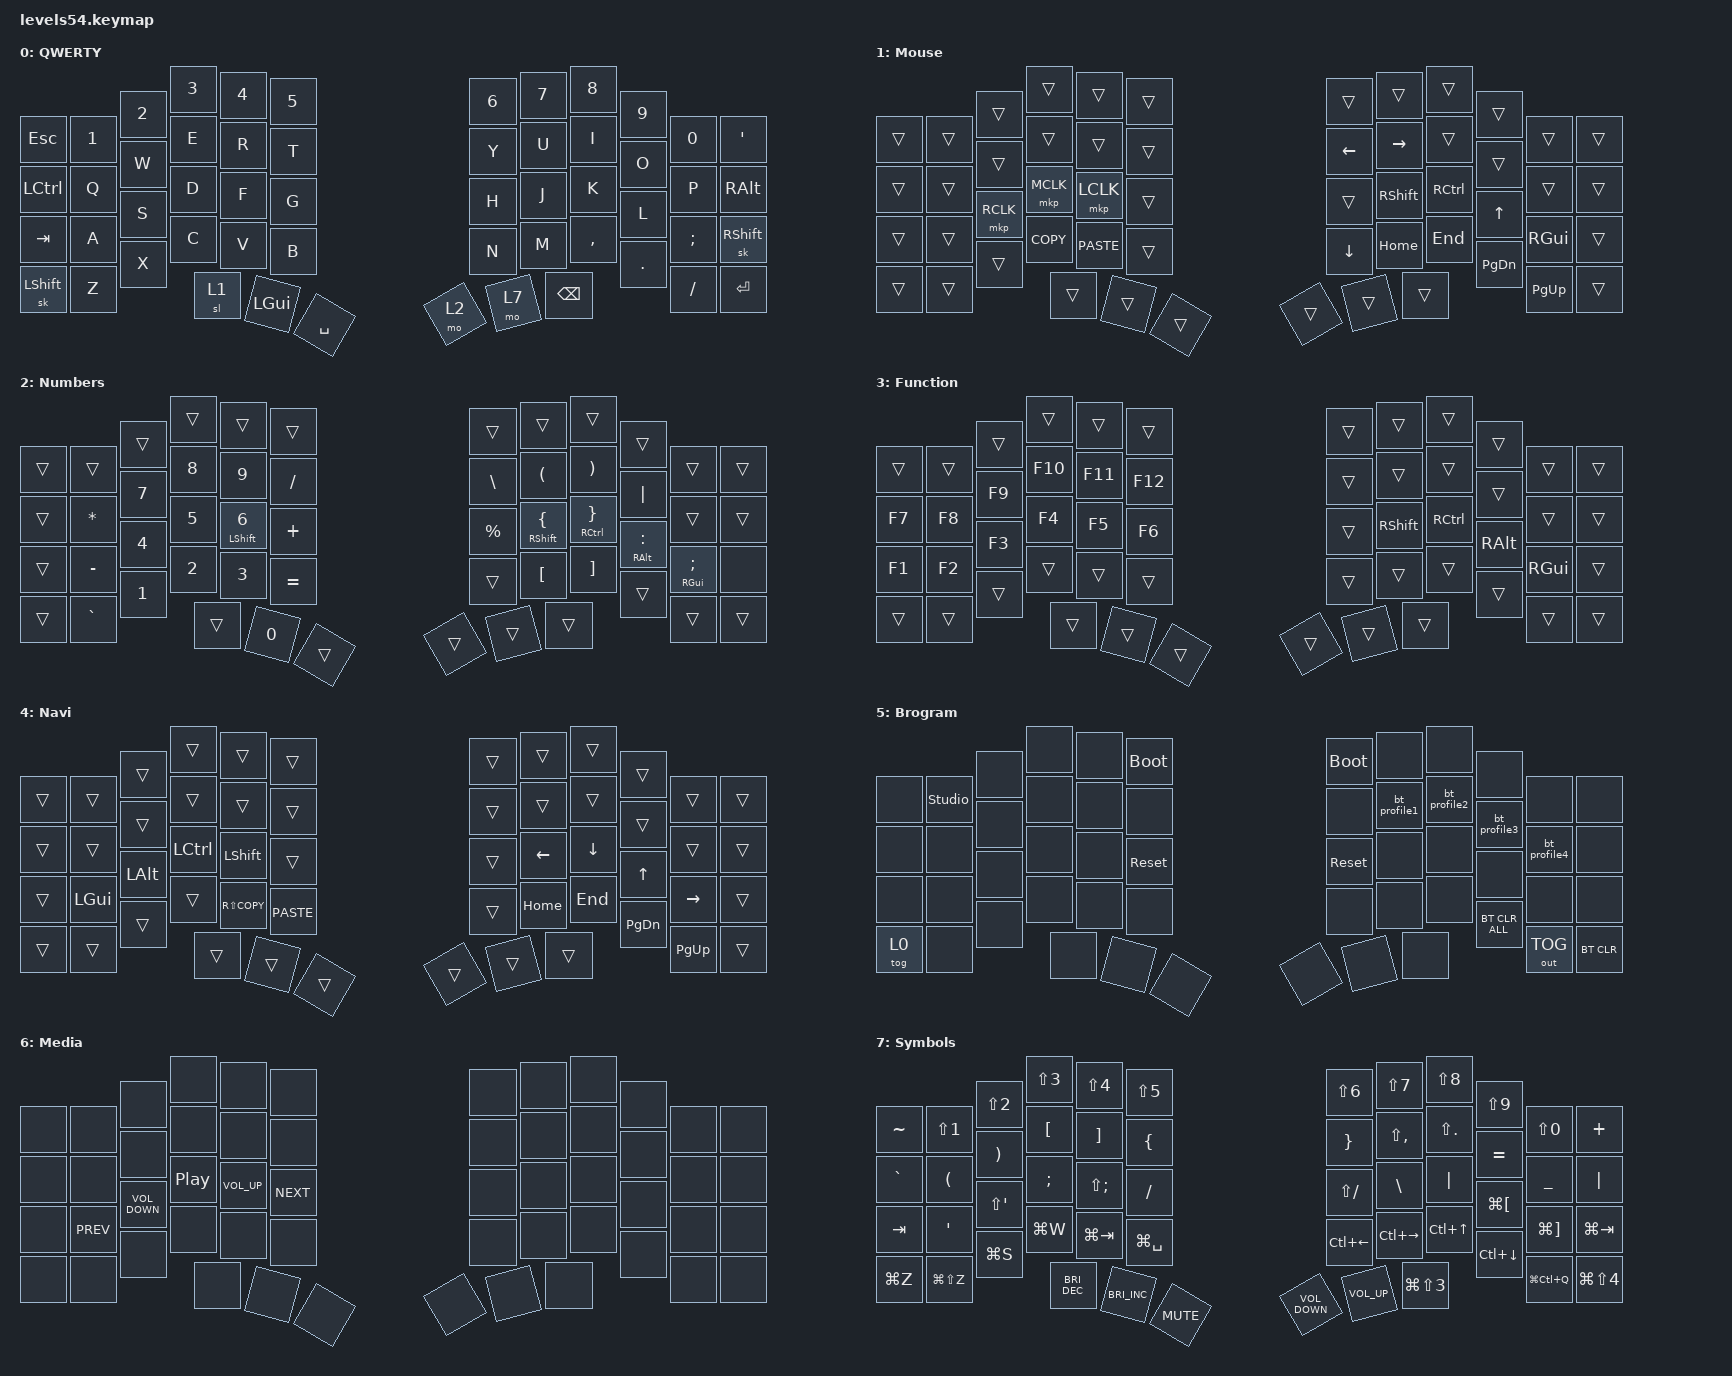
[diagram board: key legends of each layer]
#include <behaviors.dtsi>
#include <dt-bindings/zmk/bt.h>
#include <dt-bindings/zmk/keys.h>
#include <dt-bindings/zmk/outputs.h>
#include <dt-bindings/zmk/pointing.h>

/ {
    combos {
        compatible = "zmk,combos";

        sqoute {
            bindings = <&kp SINGLE_QUOTE>;
            key-positions = <15 20>;
        };

        dqoute {
            bindings = <&kp DOUBLE_QUOTES>;
            key-positions = <16 19>;
        };

        kminus {
            bindings = <&kp MINUS>;
            key-positions = <43 44>;
        };

        kunder {
            bindings = <&kp UNDER>;
            key-positions = <44 45>;
        };

        ktab {
            bindings = <&kp TAB>;
            key-positions = <14 21>;
        };

        kcaps {
            bindings = <&caps_word>;
            key-positions = <40 43>;
        };

        kskinny {
            bindings = <&skinnyarrow>;
            key-positions = <28 31>;
        };

        kfat {
            bindings = <&fatarrow>;
            key-positions = <28 31 32>;
        };

        kpipe {
            bindings = <&pipeopr>;
            key-positions = <29 30>;
        };

        kvimsave {
            bindings = <&vimsave>;
            key-positions = <50 14>;
        };

        spc_macro {
            bindings = <&kp SPACE>;
            key-positions = <27 32>;
        };
    };

    macros {
        vimsave: vimsave {
            compatible = "zmk,behavior-macro";
            #binding-cells = <0>;
            bindings = <&kp ESCAPE &kp COLON &kp W &kp RET>;
            label = "VIMSAVE";
        };

        skinnyarrow: skinnyarrow {
            compatible = "zmk,behavior-macro";
            #binding-cells = <0>;
            bindings = <&kp MINUS &kp GREATER_THAN>;
            label = "SKINNYARROW";
        };

        fatarrow: fatarrow {
            compatible = "zmk,behavior-macro";
            #binding-cells = <0>;
            bindings = <&kp EQUAL &kp GREATER_THAN>;
            label = "FATARROW";
        };

        pipeopr: pipeopr {
            compatible = "zmk,behavior-macro";
            #binding-cells = <0>;
            bindings = <&kp PIPE &kp GREATER_THAN>;
            label = "PIPEOPR";
        };

        bt_profile1: bt_profile1 {
            compatible = "zmk,behavior-macro";
            #binding-cells = <0>;
            bindings = <&out OUT_BLE &bt BT_SEL 0>;
            label = "BT_PROFILE1";
        };

        bt_profile2: bt_profile2 {
            compatible = "zmk,behavior-macro";
            #binding-cells = <0>;
            bindings = <&out OUT_BLE &bt BT_SEL 1>;
            label = "BT_PROFILE2";
        };

        bt_profile3: bt_profile3 {
            compatible = "zmk,behavior-macro";
            #binding-cells = <0>;
            bindings = <&out OUT_BLE &bt BT_SEL 2>;
            label = "BT_PROFILE3";
        };

        bt_profile4: bt_profile4 {
            compatible = "zmk,behavior-macro";
            #binding-cells = <0>;
            bindings = <&out OUT_BLE &bt BT_SEL 3>;
            label = "BT_PROFILE4";
        };
    };

    behaviors {
        hml: hml {
            compatible = "zmk,behavior-hold-tap";
            label = "HML";
            bindings = <&kp>, <&kp>;

            #binding-cells = <2>;
            tapping-term-ms = <250>;
            quick-tap-ms = <175>;
            require-prior-idle-ms = <145>;
            flavor = "balanced";
            hold-trigger-key-positions = <6 7 8 9 10 11 18 19 20 21 22 23 30 31 32 33 34 35 42 43 44 45 46 47 51 52 53 50 49 48>;
            hold-trigger-on-release;
        };

        hmr: hmr {
            compatible = "zmk,behavior-hold-tap";
            label = "HMR";
            bindings = <&kp>, <&kp>;

            #binding-cells = <2>;
            tapping-term-ms = <280>;
            quick-tap-ms = <175>;
            require-prior-idle-ms = <150>;
            flavor = "balanced";
            hold-trigger-key-positions = <0 1 5 12 13 14 15 16 17 24 25 26 27 28 29 36 37 38 39 40 41 48 49 50 4 3 15 2 51 52 53>;
            hold-trigger-on-release;
        };

        mouse_tap: mouse_tap {
            compatible = "zmk,behavior-hold-tap";
            label = "MOUSE_TAP";
            bindings = <&mo>, <&kp>;

            #binding-cells = <2>;
            tapping-term-ms = <150>;
            flavor = "hold-preferred";
            hold-trigger-on-release;
            hold-trigger-key-positions = <28 26 27>;
        };
    };

    keymap {
        compatible = "zmk,keymap";

        qwerty {
            display-name = "QWERTY";
            bindings = <
&kp ESCAPE       &kp N1           &kp N2           &kp N3        &kp N4             &kp N5    &kp N6     &kp N7              &kp N8        &kp N9            &kp N0       &kp SINGLE_QUOTE
&kp LCTRL        &kp Q            &kp W            &kp E         &kp R              &kp T     &kp Y      &kp U               &kp I         &kp O             &kp P        &kp RIGHT_ALT
&kp TAB          &kp A            &kp S            &kp D         &kp F              &kp G     &kp H      &kp J               &kp K         &kp L             &kp SEMI     &sk RIGHT_SHIFT
&sk LEFT_SHIFT   &kp Z            &kp X            &kp C         &kp V              &kp B     &kp N      &kp M               &kp COMMA     &kp DOT           &kp SLASH  &kp ENTER
                                                  &sl 1         &kp LEFT_GUI      &kp SPACE  &mo 2     &mo 7              &kp BACKSPACE
            >;
        };

        mouse {
            display-name = "Mouse";
            bindings = <
&trans  &trans  &trans     &trans      &trans       &trans    &trans  &trans     &trans     &trans         &trans       &trans
&trans  &trans  &trans     &trans      &trans       &trans    &kp LEFT  &kp RIGHT   &trans     &trans         &trans       &trans
&trans  &trans  &mkp RCLK  &mkp MCLK   &mkp LCLK    &trans    &trans  &kp RSHFT  &kp RCTRL  &kp UP         &kp RGUI     &trans
&trans  &trans  &trans     &kp K_COPY  &kp K_PASTE  &trans    &kp DOWN  &kp HOME   &kp END    &kp PAGE_DOWN  &kp PAGE_UP  &trans
                           &trans      &trans       &trans    &trans  &trans     &trans
            >;
        };

        num {
            display-name = "Numbers";
            bindings = <
&trans  &trans        &trans  &trans  &trans              &trans       &trans         &trans                 &trans                  &trans           &trans          &trans
&trans  &kp ASTERISK  &kp N7  &kp N8  &kp N9              &kp SLASH    &kp BACKSLASH  &kp LEFT_PARENTHESIS   &kp RIGHT_PARENTHESIS   &kp PIPE         &trans          &trans
&trans  &kp MINUS     &kp N4  &kp N5  &hml LEFT_SHIFT N6  &kp PLUS     &kp PERCENT    &hmr RSHFT LEFT_BRACE  &hmr RCTRL RIGHT_BRACE  &hmr RALT COLON  &hmr RGUI SEMI  &none
&trans  &kp GRAVE     &kp N1  &kp N2  &kp N3              &kp EQUAL    &trans         &kp LEFT_BRACKET       &kp RIGHT_BRACKET       &trans           &trans          &trans
                              &trans  &kp N0              &trans       &trans         &trans                 &trans
            >;
        };

        func {
            display-name = "Function";
            bindings = <
&trans  &trans  &trans  &trans   &trans   &trans     &trans  &trans     &trans     &trans    &trans    &trans
&kp F7  &kp F8  &kp F9  &kp F10  &kp F11  &kp F12    &trans  &trans     &trans     &trans    &trans    &trans
&kp F1  &kp F2  &kp F3  &kp F4   &kp F5   &kp F6     &trans  &kp RSHFT  &kp RCTRL  &kp RALT  &kp RGUI  &trans
&trans  &trans  &trans  &trans   &trans   &trans     &trans  &trans     &trans     &trans    &trans    &trans
                        &trans   &trans   &trans     &trans  &trans     &trans
            >;
        };

        nav {
            bindings = <
&trans  &trans        &trans        &trans     &trans          &trans         &trans  &trans    &trans    &trans         &trans       &trans
&trans  &trans        &trans        &trans     &trans          &trans         &trans  &trans    &trans    &trans         &trans       &trans
&trans  &kp LEFT_GUI  &kp LEFT_ALT  &kp LCTRL  &kp LEFT_SHIFT  &trans         &trans  &kp LEFT  &kp DOWN  &kp UP         &kp RIGHT    &trans
&trans  &trans        &trans        &trans     &kp RS(K_COPY)  &kp K_PASTE    &trans  &kp HOME  &kp END   &kp PAGE_DOWN  &kp PAGE_UP  &trans
                                    &trans     &trans          &trans         &trans  &trans    &trans
            >;

            label = "Navi";
        };

        prog {
            bindings = <
&none   &studio_unlock  &none  &none  &none  &bootloader    &bootloader  &none         &none         &none           &none         &none
&none   &none           &none  &none  &none  &none          &none        &bt_profile1  &bt_profile2  &bt_profile3    &bt_profile4  &none
&none   &none           &none  &none  &none  &sys_reset     &sys_reset   &none         &none         &none           &none         &none
&tog 0  &none           &none  &none  &none  &none          &none        &none         &none         &bt BT_CLR_ALL  &out OUT_TOG  &bt BT_CLR
                               &none  &none  &none          &none        &none         &none
            >;

            label = "Brogram";
        };

        media {
            bindings = <
&none  &none       &none              &none             &none            &none         &none  &none  &none  &none  &none  &none
&none  &none       &none              &none             &none            &none         &none  &none  &none  &none  &none  &none
&none  &kp C_PREV  &kp C_VOLUME_DOWN  &kp C_PLAY_PAUSE  &kp C_VOLUME_UP  &kp C_NEXT    &none  &none  &none  &none  &none  &none
&none  &none       &none              &none             &none            &none         &none  &none  &none  &none  &none  &none
                                      &none             &none            &none         &none  &none  &none
            >;

            label = "Media";
        };

        symbols {
            display-name = "Symbols";
            bindings = <
&kp TILDE   &kp LS(N1)      &kp LS(N2)       &kp LS(N3)        &kp LS(N4)         &kp LS(N5)     &kp LS(N6)     &kp LS(N7)        &kp LS(N8)       &kp LS(N9)      &kp LS(N0)     &kp PLUS
&kp GRAVE   &kp LEFT_PARENTHESIS  &kp RIGHT_PARENTHESIS  &kp LEFT_BRACKET  &kp RIGHT_BRACKET  &kp LEFT_BRACE  &kp RIGHT_BRACE  &kp LS(COMMA)     &kp LS(DOT)     &kp EQUAL      &kp UNDER      &kp PIPE
&kp TAB     &kp SINGLE_QUOTE      &kp LS(SINGLE_QUOTE)   &kp SEMI          &kp LS(SEMI)       &kp SLASH       &kp LS(SLASH)     &kp BACKSLASH     &kp PIPE        &kp LG(LEFT_BRACKET)  &kp LG(RIGHT_BRACKET)  &kp LG(TAB)
&kp LG(Z)   &kp LG(LS(Z))         &kp LG(S)              &kp LG(W)         &kp LG(TAB)        &kp LG(SPACE)   &kp LC(LEFT)      &kp LC(RIGHT)     &kp LC(UP)      &kp LC(DOWN)   &kp LG(LC(Q)) &kp LG(LS(N4))
                                      &kp C_BRIGHTNESS_DEC  &kp C_BRIGHTNESS_INC  &kp C_MUTE  &kp C_VOLUME_DOWN  &kp C_VOLUME_UP  &kp LG(LS(N3))
            >;

            label = "Symbols";
        };
    };
};
